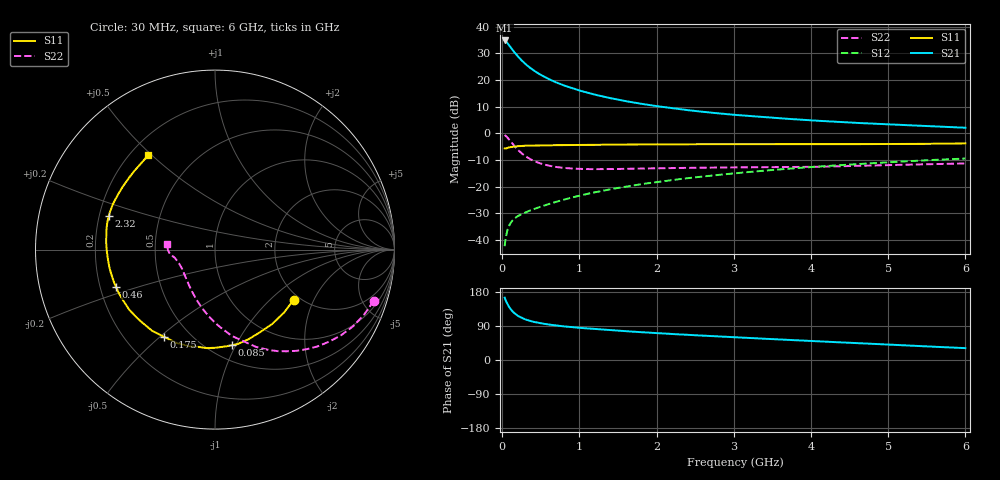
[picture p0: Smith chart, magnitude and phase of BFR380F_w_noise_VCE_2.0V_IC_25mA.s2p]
! Infineon Technologies  Discrete & RF Semiconductors
! BFR380F
! VCE =  2.0 V,  IC =  25 mA
! Common Emitter S-Parameters:  Nov 2015
# GHz  S  MA  R  50
!  f  S11  S21  S12  S22
! GHz  MAG  ANG  MAG  ANG  MAG  ANG  MAG  ANG
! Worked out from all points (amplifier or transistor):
!   206 points, 30 MHz to 6 GHz, reference 50 ohm
!   highest |S21| = 34.8 dB at 30 MHz (marker M1)
!   |S21| within 3 dB of that: start of sweep to 118.8 MHz
!   unconditionally stable (mu >= 1): 1.172 GHz to 5.16 GHz
!   at 200 MHz: K = 0.45, MSG = 30.0 dB, |S12| = -31.1 dB
!   at 1.56 GHz: K = 1.03, MAG = 15.2 dB, |S12| = -20.2 dB
!   at 6 GHz: K = 0.99, MSG = 5.8 dB, |S12| = -9.5 dB
!   lowest NFmin = 1.13 dB at 900 MHz
!   S11 on the Smith chart (normalised r, x): 30 MHz: 1.85, -1.42; 85 MHz: 0.64, -0.97; 175 MHz: 0.36, -0.52; 460 MHz: 0.27, -0.17; 2.32 GHz: 0.24, +0.15; 6 GHz: 0.27, +0.49
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0.03  0.5194 -32.6  55.06 164.5  0.0076 78.8  0.9291 -17.9
0.05  0.5228 -52.5  52.29 154.6  0.0119 71.0  0.8803 -29.0
0.07  0.5332 -69.5  48.37 146.4  0.0157 65.7  0.8177 -38.8
0.085  0.5411 -79.9  45.38 141.4  0.0178 62.7  0.7696 -45.3
0.105  0.5481 -92.1  41.49 135.2  0.0204 58.9  0.7073 -53.1
0.13  0.5566 -104.0  37.08 128.9  0.0229 55.7  0.6371 -61.5
0.15  0.5626 -112.6  34.01 124.7  0.0246 53.7  0.5877 -67.2
0.175  0.5625 -120.2  30.77 121.1  0.0262 52.4  0.536 -72.6
0.2  0.5722 -127.7  27.68 116.6  0.0278 51.2  0.4899 -79.0
0.22  0.5722 -131.7  25.86 114.6  0.0288 51.0  0.4608 -82.3
0.3  0.5837 -145.2  19.84 106.9  0.0327 51.2  0.3704 -95.8
0.4  0.5876 -155.2  15.3 100.9  0.0373 53.2  0.3069 -108.1
0.46  0.5902 -159.6  13.44 98.3  0.0401 54.7  0.2824 -114.1
0.7  0.5967 -170.7  8.967 91.0  0.0518 59.7  0.2326 -132.1
1.04  0.6034 -179.6  6.099 84.3  0.0695 63.8  0.2135 -147.0
1.4  0.6101 173.8  4.549 78.7  0.0889 65.9  0.2126 -156.2
2.02  0.6191 165.6  3.196 70.8  0.1227 66.7  0.2198 -163.4
2.32  0.6209 162.2  2.806 67.3  0.139 66.5  0.2232 -165.5
3.1  0.6221 154.6  2.162 59.2  0.1819 64.8  0.2288 -168.4
4.1  0.6222 144.5  1.711 49.1  0.2372 60.9  0.2348 -170.2
5.1  0.6281 135.1  1.446 39.8  0.2904 56.5  0.2545 -175.7
6  0.644 125.3  1.268 31.3  0.3349 51.3  0.271 173.9
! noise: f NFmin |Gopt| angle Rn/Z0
0.45  1.16  0.25  179  0.08
0.9  1.13  0.3  177  0.07
1.8  1.34  0.38  -171  0.08
1.9  1.42  0.39  -171  0.08
2.4  1.5  0.41  -161  0.09
3.5  2.08  0.49  -150  0.13
